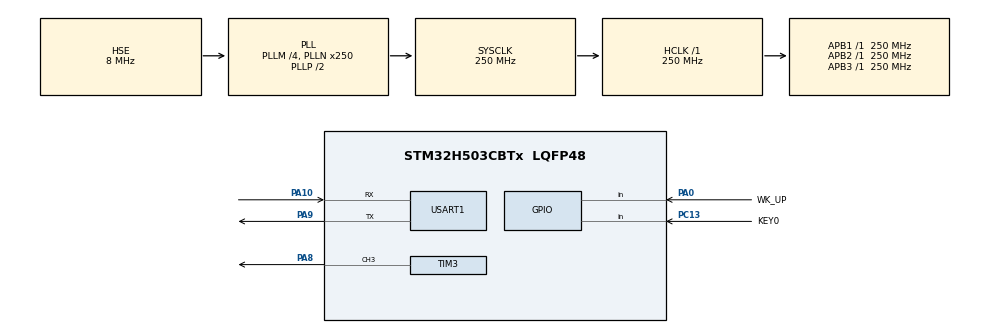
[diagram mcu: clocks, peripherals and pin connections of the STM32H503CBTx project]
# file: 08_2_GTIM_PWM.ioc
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BOOTPATH.BootPathName=LEGACY
BOOTPATH.UserSelectedBootPath=LEGACY
Mcu.Family=STM32H5
Mcu.Name=STM32H503CBTx
Mcu.Package=LQFP48
NVIC.PriorityGroup=NVIC_PRIORITYGROUP_2
NVIC.USART1_IRQn=true\:2\:2\:true\:false\:true\:true\:true\:true
PA0.GPIO_Label=WK_UP
PA0.GPIO_PuPd=GPIO_PULLDOWN
PA0.Signal=GPIO_Input
PA10.GPIO_ModeDefaultPP=GPIO_MODE_AF_PP
PA10.GPIO_Speed=GPIO_SPEED_FREQ_LOW
PA10.Mode=Asynchronous
PA10.Signal=USART1_RX
PA8.Signal=S_TIM3_CH3
PA9.GPIO_Speed=GPIO_SPEED_FREQ_HIGH
PA9.Mode=Asynchronous
PA9.Signal=USART1_TX
PC13.GPIO_Label=KEY0
PC13.GPIO_PuPd=GPIO_PULLDOWN
PC13.Signal=GPIO_Input
PC14-OSC32_IN(OSC32_IN).Mode=LSE-External-Oscillator
PC14-OSC32_IN(OSC32_IN).Signal=RCC_OSC32_IN
PC15-OSC32_OUT(OSC32_OUT).Mode=LSE-External-Oscillator
PC15-OSC32_OUT(OSC32_OUT).Signal=RCC_OSC32_OUT
PH0-OSC_IN(PH0).Mode=HSE-External-Oscillator
PH0-OSC_IN(PH0).Signal=RCC_OSC_IN
PH1-OSC_OUT(PH1).Mode=HSE-External-Oscillator
PH1-OSC_OUT(PH1).Signal=RCC_OSC_OUT
ProjectManager.HeapSize=0x200
ProjectManager.StackSize=0x400
ProjectManager.TargetToolchain=STM32CubeIDE
RCC.ADCFreq_Value=250000000
RCC.AHBFreq_Value=250000000
RCC.APB1Freq_Value=250000000
RCC.APB1TimFreq_Value=250000000
RCC.APB2Freq_Value=250000000
RCC.APB2TimFreq_Value=250000000
RCC.APB3Freq_Value=250000000
RCC.CSI_VALUE=4000000
RCC.CortexFreq_Value=250000000
RCC.EPOD_VALUE=8000000
RCC.HCLKFreq_Value=250000000
RCC.HSE_VALUE=8000000
RCC.HSI48_VALUE=48000000
RCC.HSI_VALUE=64000000
RCC.LSIRC_VALUE=32000
RCC.PLLM=4
RCC.PLLN=250
RCC.PLLSourceVirtual=RCC_PLL1_SOURCE_HSE
RCC.SYSCLKFreq_VALUE=250000000
RCC.SYSCLKSource=RCC_SYSCLKSOURCE_PLLCLK
RCC.USBFreq_Value=48000000
RCC.VCOOutputFreq_Value=500000000
SH.S_TIM3_CH3.0=TIM3_CH3,PWM Generation3 CH3
TIM3.AutoReloadPreload=TIM_AUTORELOAD_PRELOAD_ENABLE
TIM3.Channel-PWM\ Generation3\ CH3=TIM_CHANNEL_3
TIM3.OCPolarity_3=TIM_OCPOLARITY_LOW
TIM3.PeriodNoDither=500-1
TIM3.Prescaler=250-1
TIM3.PulseNoDither_3=250
USART1.VirtualMode=VM_ASYNC
VP_BOOTPATH_VS_BOOTPATH.Mode=BP_Activate
VP_ICACHE_VS_ICACHE.Mode=DefaultMode
VP_MEMORYMAP_VS_MEMORYMAP.Mode=CurAppReg
VP_PWR_VS_DBSignals.Mode=DisableDeadBatterySignals
VP_PWR_VS_LPOM.Mode=PowerOptimisation
VP_PWR_VS_SECSignals.Mode=Security/Privilege
VP_TIM3_VS_ClockSourceINT.Mode=Internal
board=custom

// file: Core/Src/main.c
/**
 ****************************************************************************************************
 * @file        main.c
 * @author      ALIENTEK
 * @brief       General-purpose timer PWM output code
 * @license     Copyright (C) 2012-2024, ALIENTEK
 ****************************************************************************************************
 * @attention
 *
 * platform     : ALIENTEK M48-STM32H503 board
 * website      : www.alientek.com
 * forum        : www.openedv.com/forum.php
 *
 * change logs  ：
 * version      data         notes
 * V1.0         20240309     the first version
 *
 ****************************************************************************************************
 */

/* USER CODE BEGIN Header */

/* USER CODE END Header */
#include "main.h"
#include "icache.h"
#include "memorymap.h"
#include "tim.h"
#include "usart.h"
#include "gpio.h"

/* USER CODE BEGIN Includes */
#include "../../BSP/LED/led.h"
#include "../../BSP/KEY/key.h"
/* USER CODE END Includes */

void SystemClock_Config(void);

/* USER CODE BEGIN 0 */
/**
 * @brief   Displays information about the experiment
 * @param   None
 * @retval  None
 */
void stm32h503cb_show_mesg(void)
{
	/* The serial port outputs the experimental information */
	printf("\n");
	printf("********************************\r\n");
	printf("STM32H503\r\n");
	printf("GTIM PWM Test\r\n");
	printf("ATOM@ALIENTEK\r\n");
	printf("********************************\r\n");
	printf("\r\n");
}
/* USER CODE END 0 */

int main(void)
{
  /* USER CODE BEGIN 1 */
  uint16_t ledrpwmval = 0;
  uint8_t dir = 1;
  /* USER CODE END 1 */

  /* MCU Configuration--------------------------------------------------------*/

  /* Reset of all peripherals, Initializes the Flash interface and the Systick. */
  HAL_Init();

  /* Configure the system clock */
  SystemClock_Config();

  /* Initialize all configured peripherals */
  MX_GPIO_Init();
  MX_ICACHE_Init();
  MX_USART1_UART_Init();
  MX_TIM3_Init();
  /* USER CODE BEGIN 2 */
  stm32h503cb_show_mesg();
  /* USER CODE END 2 */

  /* Infinite loop */
  /* USER CODE BEGIN WHILE */
  while (1)
  {
	  HAL_Delay(10);     /* delay 10ms */

	  if (dir)
	  {
		  ledrpwmval++;  /* dir==1,ledrpwmval increments */
	  }
	  else
	  {
		  ledrpwmval--;  /* dir==0,ledrpwmval decrements */
	  }

	  if (ledrpwmval > 300)
	  {
		  dir = 0;       /* After ledrpwmval reaches 300, the direction is decreasing */
	  }
	  if (ledrpwmval == 0)
	  {
		  dir = 1;        /* After ledrpwmval decrements to 0, the direction is changed to increasing */
	  }

	  /* Modify the comparison value to control the duty cycle */
	  __HAL_TIM_SET_COMPARE(&htim3, TIM_CHANNEL_3, ledrpwmval);
    /* USER CODE END WHILE */

  }
}

void SystemClock_Config(void)
{
  RCC_OscInitTypeDef RCC_OscInitStruct = {0};
  RCC_ClkInitTypeDef RCC_ClkInitStruct = {0};

  /** Configure the main internal regulator output voltage
  */
  __HAL_PWR_VOLTAGESCALING_CONFIG(PWR_REGULATOR_VOLTAGE_SCALE0);

  while(!__HAL_PWR_GET_FLAG(PWR_FLAG_VOSRDY)) {}

  /** Initializes the RCC Oscillators according to the specified parameters
  * in the RCC_OscInitTypeDef structure.
  */
  RCC_OscInitStruct.OscillatorType = RCC_OSCILLATORTYPE_HSE;
  RCC_OscInitStruct.HSEState = RCC_HSE_ON;
  RCC_OscInitStruct.PLL.PLLState = RCC_PLL_ON;
  RCC_OscInitStruct.PLL.PLLSource = RCC_PLL1_SOURCE_HSE;
  RCC_OscInitStruct.PLL.PLLM = 4;
  RCC_OscInitStruct.PLL.PLLN = 250;
  RCC_OscInitStruct.PLL.PLLP = 2;
  RCC_OscInitStruct.PLL.PLLQ = 2;
  RCC_OscInitStruct.PLL.PLLR = 2;
  RCC_OscInitStruct.PLL.PLLRGE = RCC_PLL1_VCIRANGE_1;
  RCC_OscInitStruct.PLL.PLLVCOSEL = RCC_PLL1_VCORANGE_WIDE;
  RCC_OscInitStruct.PLL.PLLFRACN = 0;
  if (HAL_RCC_OscConfig(&RCC_OscInitStruct) != HAL_OK)
  {
    Error_Handler();
  }

  /** Initializes the CPU, AHB and APB buses clocks
  */
  RCC_ClkInitStruct.ClockType = RCC_CLOCKTYPE_HCLK|RCC_CLOCKTYPE_SYSCLK
                              |RCC_CLOCKTYPE_PCLK1|RCC_CLOCKTYPE_PCLK2
                              |RCC_CLOCKTYPE_PCLK3;
  RCC_ClkInitStruct.SYSCLKSource = RCC_SYSCLKSOURCE_PLLCLK;
  RCC_ClkInitStruct.AHBCLKDivider = RCC_SYSCLK_DIV1;
  RCC_ClkInitStruct.APB1CLKDivider = RCC_HCLK_DIV1;
  RCC_ClkInitStruct.APB2CLKDivider = RCC_HCLK_DIV1;
  RCC_ClkInitStruct.APB3CLKDivider = RCC_HCLK_DIV1;

  if (HAL_RCC_ClockConfig(&RCC_ClkInitStruct, FLASH_LATENCY_5) != HAL_OK)
  {
    Error_Handler();
  }
}

void Error_Handler(void)
{
  __disable_irq();
  while (1)
  {
  }
}
